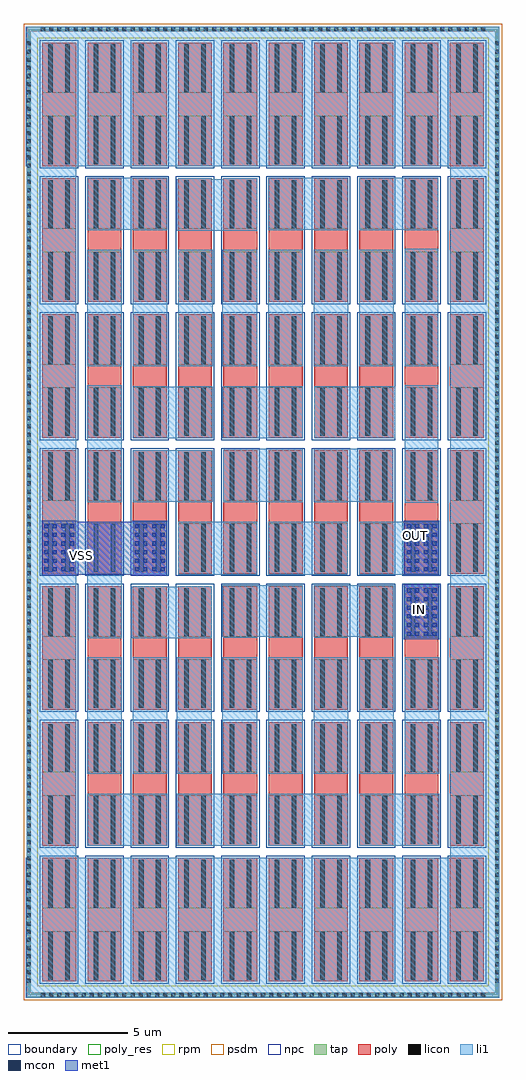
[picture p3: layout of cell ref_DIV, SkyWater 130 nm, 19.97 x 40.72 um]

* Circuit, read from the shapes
.subckt ref_DIV IN OUT VSS
XR1 VSS VSS VSS sky130_fd_pr__res_high_po w=1.41 l=0.87 m=30
XR2 sky130_fd_pr__res_high_po_1p41_ZNKGM5_0/R1_1_1 sky130_fd_pr__res_high_po_1p41_ZNKGM5_0/R2_1_1 VSS sky130_fd_pr__res_high_po w=1.41 l=0.87
XR3 sky130_fd_pr__res_high_po_1p41_ZNKGM5_0/R1_1_2 sky130_fd_pr__res_high_po_1p41_ZNKGM5_0/R1_1_1 VSS sky130_fd_pr__res_high_po w=1.41 l=0.87
XR4 sky130_fd_pr__res_high_po_1p41_ZNKGM5_0/R1_1_3 sky130_fd_pr__res_high_po_1p41_ZNKGM5_0/R1_1_2 VSS sky130_fd_pr__res_high_po w=1.41 l=0.87
XR5 sky130_fd_pr__res_high_po_1p41_ZNKGM5_0/R1_1_4 sky130_fd_pr__res_high_po_1p41_ZNKGM5_0/R1_1_3 VSS sky130_fd_pr__res_high_po w=1.41 l=0.87
XR6 sky130_fd_pr__res_high_po_1p41_ZNKGM5_0/R1_1_5 sky130_fd_pr__res_high_po_1p41_ZNKGM5_0/R1_1_4 VSS sky130_fd_pr__res_high_po w=1.41 l=0.87
XR7 sky130_fd_pr__res_high_po_1p41_ZNKGM5_0/R1_2_1 sky130_fd_pr__res_high_po_1p41_ZNKGM5_0/R2_1_1 VSS sky130_fd_pr__res_high_po w=1.41 l=0.87
XR8 sky130_fd_pr__res_high_po_1p41_ZNKGM5_0/R1_2_2 sky130_fd_pr__res_high_po_1p41_ZNKGM5_0/R1_2_1 VSS sky130_fd_pr__res_high_po w=1.41 l=0.87
XR9 sky130_fd_pr__res_high_po_1p41_ZNKGM5_0/R1_2_3 VSS VSS sky130_fd_pr__res_high_po w=1.41 l=0.87
XR10 sky130_fd_pr__res_high_po_1p41_ZNKGM5_0/R1_2_4 sky130_fd_pr__res_high_po_1p41_ZNKGM5_0/R2_2_4 VSS sky130_fd_pr__res_high_po w=1.41 l=0.87
XR11 sky130_fd_pr__res_high_po_1p41_ZNKGM5_0/R1_1_5 sky130_fd_pr__res_high_po_1p41_ZNKGM5_0/R1_2_4 VSS sky130_fd_pr__res_high_po w=1.41 l=0.87
XR12 sky130_fd_pr__res_high_po_1p41_ZNKGM5_0/R1_3_1 sky130_fd_pr__res_high_po_1p41_ZNKGM5_0/R2_3_1 VSS sky130_fd_pr__res_high_po w=1.41 l=0.87
XR13 sky130_fd_pr__res_high_po_1p41_ZNKGM5_0/R1_2_2 sky130_fd_pr__res_high_po_1p41_ZNKGM5_0/R1_3_1 VSS sky130_fd_pr__res_high_po w=1.41 l=0.87
XR14 sky130_fd_pr__res_high_po_1p41_ZNKGM5_0/R1_2_3 sky130_fd_pr__res_high_po_1p41_ZNKGM5_0/R2_3_3 VSS sky130_fd_pr__res_high_po w=1.41 l=0.87
XR15 sky130_fd_pr__res_high_po_1p41_ZNKGM5_0/R1_3_4 sky130_fd_pr__res_high_po_1p41_ZNKGM5_0/R2_2_4 VSS sky130_fd_pr__res_high_po w=1.41 l=0.87
XR16 sky130_fd_pr__res_high_po_1p41_ZNKGM5_0/R1_3_5 sky130_fd_pr__res_high_po_1p41_ZNKGM5_0/R1_3_4 VSS sky130_fd_pr__res_high_po w=1.41 l=0.87
XR17 sky130_fd_pr__res_high_po_1p41_ZNKGM5_0/R1_4_1 sky130_fd_pr__res_high_po_1p41_ZNKGM5_0/R2_3_1 VSS sky130_fd_pr__res_high_po w=1.41 l=0.87
XR18 sky130_fd_pr__res_high_po_1p41_ZNKGM5_0/R1_4_2 sky130_fd_pr__res_high_po_1p41_ZNKGM5_0/R1_4_1 VSS sky130_fd_pr__res_high_po w=1.41 l=0.87
XR19 sky130_fd_pr__res_high_po_1p41_ZNKGM5_0/R1_4_3 sky130_fd_pr__res_high_po_1p41_ZNKGM5_0/R2_3_3 VSS sky130_fd_pr__res_high_po w=1.41 l=0.87
XR20 sky130_fd_pr__res_high_po_1p41_ZNKGM5_0/R1_4_4 sky130_fd_pr__res_high_po_1p41_ZNKGM5_0/R2_4_4 VSS sky130_fd_pr__res_high_po w=1.41 l=0.87
XR21 sky130_fd_pr__res_high_po_1p41_ZNKGM5_0/R1_3_5 sky130_fd_pr__res_high_po_1p41_ZNKGM5_0/R1_4_4 VSS sky130_fd_pr__res_high_po w=1.41 l=0.87
XR22 sky130_fd_pr__res_high_po_1p41_ZNKGM5_0/R1_5_1 sky130_fd_pr__res_high_po_1p41_ZNKGM5_0/R2_5_1 VSS sky130_fd_pr__res_high_po w=1.41 l=0.87
XR23 sky130_fd_pr__res_high_po_1p41_ZNKGM5_0/R1_4_2 sky130_fd_pr__res_high_po_1p41_ZNKGM5_0/R1_5_1 VSS sky130_fd_pr__res_high_po w=1.41 l=0.87
XR24 sky130_fd_pr__res_high_po_1p41_ZNKGM5_0/R1_4_3 sky130_fd_pr__res_high_po_1p41_ZNKGM5_0/R2_5_3 VSS sky130_fd_pr__res_high_po w=1.41 l=0.87
XR25 sky130_fd_pr__res_high_po_1p41_ZNKGM5_0/R1_5_4 sky130_fd_pr__res_high_po_1p41_ZNKGM5_0/R2_4_4 VSS sky130_fd_pr__res_high_po w=1.41 l=0.87
XR26 sky130_fd_pr__res_high_po_1p41_ZNKGM5_0/R1_5_5 sky130_fd_pr__res_high_po_1p41_ZNKGM5_0/R1_5_4 VSS sky130_fd_pr__res_high_po w=1.41 l=0.87
XR27 sky130_fd_pr__res_high_po_1p41_ZNKGM5_0/R1_6_1 sky130_fd_pr__res_high_po_1p41_ZNKGM5_0/R2_5_1 VSS sky130_fd_pr__res_high_po w=1.41 l=0.87
XR28 sky130_fd_pr__res_high_po_1p41_ZNKGM5_0/R1_6_2 sky130_fd_pr__res_high_po_1p41_ZNKGM5_0/R1_6_1 VSS sky130_fd_pr__res_high_po w=1.41 l=0.87
XR29 sky130_fd_pr__res_high_po_1p41_ZNKGM5_0/R1_6_3 sky130_fd_pr__res_high_po_1p41_ZNKGM5_0/R2_5_3 VSS sky130_fd_pr__res_high_po w=1.41 l=0.87
XR30 sky130_fd_pr__res_high_po_1p41_ZNKGM5_0/R1_6_4 sky130_fd_pr__res_high_po_1p41_ZNKGM5_0/R2_6_4 VSS sky130_fd_pr__res_high_po w=1.41 l=0.87
XR31 sky130_fd_pr__res_high_po_1p41_ZNKGM5_0/R1_5_5 sky130_fd_pr__res_high_po_1p41_ZNKGM5_0/R1_6_4 VSS sky130_fd_pr__res_high_po w=1.41 l=0.87
XR32 sky130_fd_pr__res_high_po_1p41_ZNKGM5_0/R1_7_1 sky130_fd_pr__res_high_po_1p41_ZNKGM5_0/R2_7_1 VSS sky130_fd_pr__res_high_po w=1.41 l=0.87
XR33 sky130_fd_pr__res_high_po_1p41_ZNKGM5_0/R1_6_2 sky130_fd_pr__res_high_po_1p41_ZNKGM5_0/R1_7_1 VSS sky130_fd_pr__res_high_po w=1.41 l=0.87
XR34 sky130_fd_pr__res_high_po_1p41_ZNKGM5_0/R1_6_3 OUT VSS sky130_fd_pr__res_high_po w=1.41 l=0.87
XR35 sky130_fd_pr__res_high_po_1p41_ZNKGM5_0/R1_7_4 sky130_fd_pr__res_high_po_1p41_ZNKGM5_0/R2_6_4 VSS sky130_fd_pr__res_high_po w=1.41 l=0.87
XR36 sky130_fd_pr__res_high_po_1p41_ZNKGM5_0/R1_7_5 sky130_fd_pr__res_high_po_1p41_ZNKGM5_0/R1_7_4 VSS sky130_fd_pr__res_high_po w=1.41 l=0.87
XR37 sky130_fd_pr__res_high_po_1p41_ZNKGM5_0/R1_8_1 sky130_fd_pr__res_high_po_1p41_ZNKGM5_0/R2_7_1 VSS sky130_fd_pr__res_high_po w=1.41 l=0.87
XR38 IN sky130_fd_pr__res_high_po_1p41_ZNKGM5_0/R1_8_1 VSS sky130_fd_pr__res_high_po w=1.41 l=0.87
XR39 sky130_fd_pr__res_high_po_1p41_ZNKGM5_0/R1_8_3 OUT VSS sky130_fd_pr__res_high_po w=1.41 l=0.87
XR40 sky130_fd_pr__res_high_po_1p41_ZNKGM5_0/R1_8_4 sky130_fd_pr__res_high_po_1p41_ZNKGM5_0/R1_8_3 VSS sky130_fd_pr__res_high_po w=1.41 l=0.87
XR41 sky130_fd_pr__res_high_po_1p41_ZNKGM5_0/R1_7_5 sky130_fd_pr__res_high_po_1p41_ZNKGM5_0/R1_8_4 VSS sky130_fd_pr__res_high_po w=1.41 l=0.87
.ends

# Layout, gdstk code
import gdstk
lib = gdstk.Library(unit=1e-6, precision=1e-09)
def R(c, l, rs):  # rectangles x0, y0, x1, y1
    for r in rs: c.add(gdstk.rectangle(r[:2], r[2:], *l))
def A(c, l, x, y, w, h, nx, ny, dx, dy):  # array of equal rectangles
    R(c, l, [(x+i*dx, y+j*dy, x+i*dx+w, y+j*dy+h) for i in range(nx) for j in range(ny)])
tap = (65, 44)
poly_res = (66, 13)
poly = (66, 20)
licon = (66, 44)
li1 = (67, 20)
mcon = (67, 44)
met1 = (68, 20)
rpm = (86, 20)
psdm = (94, 20)
npc = (95, 20)
boundary = (235, 4)

sky130_fd_pr__res_high_p = lib.new_cell('sky130_fd_pr__res_high_po_1p41_ZNKGM5')
R(sky130_fd_pr__res_high_p, tap, [(-9.86,-20.235,9.86,-20.065), (-9.86,-20.065,-9.69,20.065), (9.69,-20.065,9.86,20.065), (-9.86,20.065,9.86,20.235)])
A(sky130_fd_pr__res_high_p, poly_res, -9.21, -17.505, 1.41, 0.99, 10, 7, 1.89, 5.67)
A(sky130_fd_pr__res_high_p, poly, -9.21, -19.585, 1.41, 5.15, 10, 7, 1.89, 5.67)
A(sky130_fd_pr__res_high_p, licon, -9.265, -20.235, 0.17, 0.17, 55, 2, 0.34, 40.3)
A(sky130_fd_pr__res_high_p, licon, -9.86, -19.635, 0.17, 0.17, 1, 116, 0, 0.34)
A(sky130_fd_pr__res_high_p, licon, 9.69, -19.635, 0.17, 0.17, 1, 116, 0, 0.34)
R(sky130_fd_pr__res_high_p, licon, [(-8.955,-19.505,-8.765,-17.505), (-8.245,-19.505,-8.055,-17.505), (-7.065,-19.505,-6.875,-17.505), (-6.355,-19.505,-6.165,-17.505), (-5.175,-19.505,-4.985,-17.505), (-4.465,-19.505,-4.275,-17.505), (-3.285,-19.505,-3.095,-17.505), (-2.575,-19.505,-2.385,-17.505), (-1.395,-19.505,-1.205,-17.505), (-0.685,-19.505,-0.495,-17.505), (0.495,-19.505,0.685,-17.505), (1.205,-19.505,1.395,-17.505), (2.385,-19.505,2.575,-17.505), (3.095,-19.505,3.285,-17.505), (4.275,-19.505,4.465,-17.505), (4.985,-19.505,5.175,-17.505), (6.165,-19.505,6.355,-17.505), (6.875,-19.505,7.065,-17.505), (8.055,-19.505,8.245,-17.505), (8.765,-19.505,8.955,-17.505), (-8.955,-16.515,-8.765,-14.515), (-8.245,-16.515,-8.055,-14.515), (-7.065,-16.515,-6.875,-14.515), (-6.355,-16.515,-6.165,-14.515), (-5.175,-16.515,-4.985,-14.515), (-4.465,-16.515,-4.275,-14.515), (-3.285,-16.515,-3.095,-14.515), (-2.575,-16.515,-2.385,-14.515), (-1.395,-16.515,-1.205,-14.515), (-0.685,-16.515,-0.495,-14.515), (0.495,-16.515,0.685,-14.515), (1.205,-16.515,1.395,-14.515), (2.385,-16.515,2.575,-14.515), (3.095,-16.515,3.285,-14.515), (4.275,-16.515,4.465,-14.515), (4.985,-16.515,5.175,-14.515), (6.165,-16.515,6.355,-14.515), (6.875,-16.515,7.065,-14.515), (8.055,-16.515,8.245,-14.515), (8.765,-16.515,8.955,-14.515), (-8.955,-13.835,-8.765,-11.835), (-8.245,-13.835,-8.055,-11.835), (-7.065,-13.835,-6.875,-11.835), (-6.355,-13.835,-6.165,-11.835), (-5.175,-13.835,-4.985,-11.835), (-4.465,-13.835,-4.275,-11.835), (-3.285,-13.835,-3.095,-11.835), (-2.575,-13.835,-2.385,-11.835), (-1.395,-13.835,-1.205,-11.835), (-0.685,-13.835,-0.495,-11.835), (0.495,-13.835,0.685,-11.835), (1.205,-13.835,1.395,-11.835), (2.385,-13.835,2.575,-11.835), (3.095,-13.835,3.285,-11.835), (4.275,-13.835,4.465,-11.835), (4.985,-13.835,5.175,-11.835), (6.165,-13.835,6.355,-11.835), (6.875,-13.835,7.065,-11.835), (8.055,-13.835,8.245,-11.835), (8.765,-13.835,8.955,-11.835), (-8.955,-10.845,-8.765,-8.845), (-8.245,-10.845,-8.055,-8.845), (-7.065,-10.845,-6.875,-8.845), (-6.355,-10.845,-6.165,-8.845), (-5.175,-10.845,-4.985,-8.845), (-4.465,-10.845,-4.275,-8.845), (-3.285,-10.845,-3.095,-8.845), (-2.575,-10.845,-2.385,-8.845), (-1.395,-10.845,-1.205,-8.845), (-0.685,-10.845,-0.495,-8.845), (0.495,-10.845,0.685,-8.845), (1.205,-10.845,1.395,-8.845), (2.385,-10.845,2.575,-8.845), (3.095,-10.845,3.285,-8.845), (4.275,-10.845,4.465,-8.845), (4.985,-10.845,5.175,-8.845), (6.165,-10.845,6.355,-8.845), (6.875,-10.845,7.065,-8.845), (8.055,-10.845,8.245,-8.845), (8.765,-10.845,8.955,-8.845), (-8.955,-8.165,-8.765,-6.165), (-8.245,-8.165,-8.055,-6.165), (-7.065,-8.165,-6.875,-6.165), (-6.355,-8.165,-6.165,-6.165), (-5.175,-8.165,-4.985,-6.165), (-4.465,-8.165,-4.275,-6.165), (-3.285,-8.165,-3.095,-6.165), (-2.575,-8.165,-2.385,-6.165), (-1.395,-8.165,-1.205,-6.165), (-0.685,-8.165,-0.495,-6.165), (0.495,-8.165,0.685,-6.165), (1.205,-8.165,1.395,-6.165), (2.385,-8.165,2.575,-6.165), (3.095,-8.165,3.285,-6.165), (4.275,-8.165,4.465,-6.165), (4.985,-8.165,5.175,-6.165), (6.165,-8.165,6.355,-6.165), (6.875,-8.165,7.065,-6.165), (8.055,-8.165,8.245,-6.165), (8.765,-8.165,8.955,-6.165), (-8.955,-5.175,-8.765,-3.175), (-8.245,-5.175,-8.055,-3.175), (-7.065,-5.175,-6.875,-3.175), (-6.355,-5.175,-6.165,-3.175), (-5.175,-5.175,-4.985,-3.175), (-4.465,-5.175,-4.275,-3.175), (-3.285,-5.175,-3.095,-3.175), (-2.575,-5.175,-2.385,-3.175), (-1.395,-5.175,-1.205,-3.175), (-0.685,-5.175,-0.495,-3.175), (0.495,-5.175,0.685,-3.175), (1.205,-5.175,1.395,-3.175), (2.385,-5.175,2.575,-3.175), (3.095,-5.175,3.285,-3.175), (4.275,-5.175,4.465,-3.175), (4.985,-5.175,5.175,-3.175), (6.165,-5.175,6.355,-3.175), (6.875,-5.175,7.065,-3.175), (8.055,-5.175,8.245,-3.175), (8.765,-5.175,8.955,-3.175), (-8.955,-2.495,-8.765,-0.495), (-8.245,-2.495,-8.055,-0.495), (-7.065,-2.495,-6.875,-0.495), (-6.355,-2.495,-6.165,-0.495), (-5.175,-2.495,-4.985,-0.495), (-4.465,-2.495,-4.275,-0.495), (-3.285,-2.495,-3.095,-0.495), (-2.575,-2.495,-2.385,-0.495), (-1.395,-2.495,-1.205,-0.495), (-0.685,-2.495,-0.495,-0.495), (0.495,-2.495,0.685,-0.495), (1.205,-2.495,1.395,-0.495), (2.385,-2.495,2.575,-0.495), (3.095,-2.495,3.285,-0.495), (4.275,-2.495,4.465,-0.495), (4.985,-2.495,5.175,-0.495), (6.165,-2.495,6.355,-0.495), (6.875,-2.495,7.065,-0.495), (8.055,-2.495,8.245,-0.495), (8.765,-2.495,8.955,-0.495), (-8.955,0.495,-8.765,2.495), (-8.245,0.495,-8.055,2.495), (-7.065,0.495,-6.875,2.495), (-6.355,0.495,-6.165,2.495), (-5.175,0.495,-4.985,2.495), (-4.465,0.495,-4.275,2.495), (-3.285,0.495,-3.095,2.495), (-2.575,0.495,-2.385,2.495), (-1.395,0.495,-1.205,2.495), (-0.685,0.495,-0.495,2.495), (0.495,0.495,0.685,2.495), (1.205,0.495,1.395,2.495), (2.385,0.495,2.575,2.495), (3.095,0.495,3.285,2.495), (4.275,0.495,4.465,2.495), (4.985,0.495,5.175,2.495), (6.165,0.495,6.355,2.495), (6.875,0.495,7.065,2.495), (8.055,0.495,8.245,2.495), (8.765,0.495,8.955,2.495), (-8.955,3.175,-8.765,5.175), (-8.245,3.175,-8.055,5.175), (-7.065,3.175,-6.875,5.175), (-6.355,3.175,-6.165,5.175), (-5.175,3.175,-4.985,5.175), (-4.465,3.175,-4.275,5.175), (-3.285,3.175,-3.095,5.175), (-2.575,3.175,-2.385,5.175), (-1.395,3.175,-1.205,5.175), (-0.685,3.175,-0.495,5.175), (0.495,3.175,0.685,5.175), (1.205,3.175,1.395,5.175), (2.385,3.175,2.575,5.175), (3.095,3.175,3.285,5.175), (4.275,3.175,4.465,5.175), (4.985,3.175,5.175,5.175), (6.165,3.175,6.355,5.175), (6.875,3.175,7.065,5.175), (8.055,3.175,8.245,5.175), (8.765,3.175,8.955,5.175), (-8.955,6.165,-8.765,8.165), (-8.245,6.165,-8.055,8.165), (-7.065,6.165,-6.875,8.165), (-6.355,6.165,-6.165,8.165), (-5.175,6.165,-4.985,8.165), (-4.465,6.165,-4.275,8.165), (-3.285,6.165,-3.095,8.165), (-2.575,6.165,-2.385,8.165), (-1.395,6.165,-1.205,8.165), (-0.685,6.165,-0.495,8.165), (0.495,6.165,0.685,8.165), (1.205,6.165,1.395,8.165), (2.385,6.165,2.575,8.165), (3.095,6.165,3.285,8.165), (4.275,6.165,4.465,8.165), (4.985,6.165,5.175,8.165), (6.165,6.165,6.355,8.165), (6.875,6.165,7.065,8.165), (8.055,6.165,8.245,8.165), (8.765,6.165,8.955,8.165), (-8.955,8.845,-8.765,10.845), (-8.245,8.845,-8.055,10.845), (-7.065,8.845,-6.875,10.845), (-6.355,8.845,-6.165,10.845), (-5.175,8.845,-4.985,10.845), (-4.465,8.845,-4.275,10.845), (-3.285,8.845,-3.095,10.845), (-2.575,8.845,-2.385,10.845), (-1.395,8.845,-1.205,10.845), (-0.685,8.845,-0.495,10.845), (0.495,8.845,0.685,10.845), (1.205,8.845,1.395,10.845), (2.385,8.845,2.575,10.845), (3.095,8.845,3.285,10.845), (4.275,8.845,4.465,10.845), (4.985,8.845,5.175,10.845), (6.165,8.845,6.355,10.845), (6.875,8.845,7.065,10.845), (8.055,8.845,8.245,10.845), (8.765,8.845,8.955,10.845), (-8.955,11.835,-8.765,13.835), (-8.245,11.835,-8.055,13.835), (-7.065,11.835,-6.875,13.835), (-6.355,11.835,-6.165,13.835), (-5.175,11.835,-4.985,13.835), (-4.465,11.835,-4.275,13.835), (-3.285,11.835,-3.095,13.835), (-2.575,11.835,-2.385,13.835), (-1.395,11.835,-1.205,13.835), (-0.685,11.835,-0.495,13.835), (0.495,11.835,0.685,13.835), (1.205,11.835,1.395,13.835), (2.385,11.835,2.575,13.835), (3.095,11.835,3.285,13.835), (4.275,11.835,4.465,13.835), (4.985,11.835,5.175,13.835), (6.165,11.835,6.355,13.835), (6.875,11.835,7.065,13.835), (8.055,11.835,8.245,13.835), (8.765,11.835,8.955,13.835), (-8.955,14.515,-8.765,16.515), (-8.245,14.515,-8.055,16.515), (-7.065,14.515,-6.875,16.515), (-6.355,14.515,-6.165,16.515), (-5.175,14.515,-4.985,16.515), (-4.465,14.515,-4.275,16.515), (-3.285,14.515,-3.095,16.515), (-2.575,14.515,-2.385,16.515), (-1.395,14.515,-1.205,16.515), (-0.685,14.515,-0.495,16.515), (0.495,14.515,0.685,16.515), (1.205,14.515,1.395,16.515), (2.385,14.515,2.575,16.515), (3.095,14.515,3.285,16.515), (4.275,14.515,4.465,16.515), (4.985,14.515,5.175,16.515), (6.165,14.515,6.355,16.515), (6.875,14.515,7.065,16.515), (8.055,14.515,8.245,16.515), (8.765,14.515,8.955,16.515), (-8.955,17.505,-8.765,19.505), (-8.245,17.505,-8.055,19.505), (-7.065,17.505,-6.875,19.505), (-6.355,17.505,-6.165,19.505), (-5.175,17.505,-4.985,19.505), (-4.465,17.505,-4.275,19.505), (-3.285,17.505,-3.095,19.505), (-2.575,17.505,-2.385,19.505), (-1.395,17.505,-1.205,19.505), (-0.685,17.505,-0.495,19.505), (0.495,17.505,0.685,19.505), (1.205,17.505,1.395,19.505), (2.385,17.505,2.575,19.505), (3.095,17.505,3.285,19.505), (4.275,17.505,4.465,19.505), (4.985,17.505,5.175,19.505), (6.165,17.505,6.355,19.505), (6.875,17.505,7.065,19.505), (8.055,17.505,8.245,19.505), (8.765,17.505,8.955,19.505)])
A(sky130_fd_pr__res_high_p, li1, -9.21, -19.585, 1.41, 2.16, 10, 2, 1.89, 2.99)
A(sky130_fd_pr__res_high_p, li1, -9.21, -13.915, 1.41, 2.16, 10, 2, 1.89, 2.99)
A(sky130_fd_pr__res_high_p, li1, -9.21, -8.245, 1.41, 2.16, 10, 2, 1.89, 2.99)
A(sky130_fd_pr__res_high_p, li1, -9.21, -2.575, 1.41, 2.16, 10, 2, 1.89, 2.99)
A(sky130_fd_pr__res_high_p, li1, -9.21, 3.095, 1.41, 2.16, 10, 2, 1.89, 2.99)
A(sky130_fd_pr__res_high_p, li1, -9.21, 8.765, 1.41, 2.16, 10, 2, 1.89, 2.99)
A(sky130_fd_pr__res_high_p, li1, -9.21, 14.435, 1.41, 2.16, 10, 2, 1.89, 2.99)
R(sky130_fd_pr__res_high_p, li1, [(-9.86,-20.235,9.86,-20.065), (-9.86,-20.065,-9.69,20.065), (9.69,-20.065,9.86,20.065), (-9.86,20.065,9.86,20.235)])
R(sky130_fd_pr__res_high_p, rpm, [(-9.41,-19.785,9.41,19.785)])
R(sky130_fd_pr__res_high_p, psdm, [(-9.985,-20.36,9.985,20.36)])
A(sky130_fd_pr__res_high_p, npc, -9.305, -19.68, 1.6, 5.34, 10, 7, 1.89, 5.67)
R(sky130_fd_pr__res_high_p, boundary, [(-9.775,-20.15,9.775,20.15)])
sky130_fd_pr__res_high_p.add(gdstk.Label('B', (0,-20.15), layer=67, texttype=5))
sky130_fd_pr__res_high_p.add(gdstk.Label('R1_0_0', (-8.505,-14.61), layer=67, texttype=5))
sky130_fd_pr__res_high_p.add(gdstk.Label('R2_0_0', (-8.505,-19.41), layer=67, texttype=5))
sky130_fd_pr__res_high_p.add(gdstk.Label('R1_0_1', (-8.505,-8.94), layer=67, texttype=5))
sky130_fd_pr__res_high_p.add(gdstk.Label('R2_0_1', (-8.505,-13.74), layer=67, texttype=5))
sky130_fd_pr__res_high_p.add(gdstk.Label('R1_0_2', (-8.505,-3.27), layer=67, texttype=5))
sky130_fd_pr__res_high_p.add(gdstk.Label('R2_0_2', (-8.505,-8.07), layer=67, texttype=5))
sky130_fd_pr__res_high_p.add(gdstk.Label('R1_0_3', (-8.505,2.4), layer=67, texttype=5))
sky130_fd_pr__res_high_p.add(gdstk.Label('R2_0_3', (-8.505,-2.4), layer=67, texttype=5))
sky130_fd_pr__res_high_p.add(gdstk.Label('R1_0_4', (-8.505,8.07), layer=67, texttype=5))
sky130_fd_pr__res_high_p.add(gdstk.Label('R2_0_4', (-8.505,3.27), layer=67, texttype=5))
sky130_fd_pr__res_high_p.add(gdstk.Label('R1_0_5', (-8.505,13.74), layer=67, texttype=5))
sky130_fd_pr__res_high_p.add(gdstk.Label('R2_0_5', (-8.505,8.94), layer=67, texttype=5))
sky130_fd_pr__res_high_p.add(gdstk.Label('R1_0_6', (-8.505,19.41), layer=67, texttype=5))
sky130_fd_pr__res_high_p.add(gdstk.Label('R2_0_6', (-8.505,14.61), layer=67, texttype=5))
sky130_fd_pr__res_high_p.add(gdstk.Label('R1_1_0', (-6.615,-14.61), layer=67, texttype=5))
sky130_fd_pr__res_high_p.add(gdstk.Label('R2_1_0', (-6.615,-19.41), layer=67, texttype=5))
sky130_fd_pr__res_high_p.add(gdstk.Label('R1_1_1', (-6.615,-8.94), layer=67, texttype=5))
sky130_fd_pr__res_high_p.add(gdstk.Label('R2_1_1', (-6.615,-13.74), layer=67, texttype=5))
sky130_fd_pr__res_high_p.add(gdstk.Label('R1_1_2', (-6.615,-3.27), layer=67, texttype=5))
sky130_fd_pr__res_high_p.add(gdstk.Label('R2_1_2', (-6.615,-8.07), layer=67, texttype=5))
sky130_fd_pr__res_high_p.add(gdstk.Label('R1_1_3', (-6.615,2.4), layer=67, texttype=5))
sky130_fd_pr__res_high_p.add(gdstk.Label('R2_1_3', (-6.615,-2.4), layer=67, texttype=5))
sky130_fd_pr__res_high_p.add(gdstk.Label('R1_1_4', (-6.615,8.07), layer=67, texttype=5))
sky130_fd_pr__res_high_p.add(gdstk.Label('R2_1_4', (-6.615,3.27), layer=67, texttype=5))
sky130_fd_pr__res_high_p.add(gdstk.Label('R1_1_5', (-6.615,13.74), layer=67, texttype=5))
sky130_fd_pr__res_high_p.add(gdstk.Label('R2_1_5', (-6.615,8.94), layer=67, texttype=5))
sky130_fd_pr__res_high_p.add(gdstk.Label('R1_1_6', (-6.615,19.41), layer=67, texttype=5))
sky130_fd_pr__res_high_p.add(gdstk.Label('R2_1_6', (-6.615,14.61), layer=67, texttype=5))
sky130_fd_pr__res_high_p.add(gdstk.Label('R1_2_0', (-4.725,-14.61), layer=67, texttype=5))
sky130_fd_pr__res_high_p.add(gdstk.Label('R2_2_0', (-4.725,-19.41), layer=67, texttype=5))
sky130_fd_pr__res_high_p.add(gdstk.Label('R1_2_1', (-4.725,-8.94), layer=67, texttype=5))
sky130_fd_pr__res_high_p.add(gdstk.Label('R2_2_1', (-4.725,-13.74), layer=67, texttype=5))
sky130_fd_pr__res_high_p.add(gdstk.Label('R1_2_2', (-4.725,-3.27), layer=67, texttype=5))
sky130_fd_pr__res_high_p.add(gdstk.Label('R2_2_2', (-4.725,-8.07), layer=67, texttype=5))
sky130_fd_pr__res_high_p.add(gdstk.Label('R1_2_3', (-4.725,2.4), layer=67, texttype=5))
sky130_fd_pr__res_high_p.add(gdstk.Label('R2_2_3', (-4.725,-2.4), layer=67, texttype=5))
sky130_fd_pr__res_high_p.add(gdstk.Label('R1_2_4', (-4.725,8.07), layer=67, texttype=5))
sky130_fd_pr__res_high_p.add(gdstk.Label('R2_2_4', (-4.725,3.27), layer=67, texttype=5))
sky130_fd_pr__res_high_p.add(gdstk.Label('R1_2_5', (-4.725,13.74), layer=67, texttype=5))
sky130_fd_pr__res_high_p.add(gdstk.Label('R2_2_5', (-4.725,8.94), layer=67, texttype=5))
sky130_fd_pr__res_high_p.add(gdstk.Label('R1_2_6', (-4.725,19.41), layer=67, texttype=5))
sky130_fd_pr__res_high_p.add(gdstk.Label('R2_2_6', (-4.725,14.61), layer=67, texttype=5))
sky130_fd_pr__res_high_p.add(gdstk.Label('R1_3_0', (-2.835,-14.61), layer=67, texttype=5))
sky130_fd_pr__res_high_p.add(gdstk.Label('R2_3_0', (-2.835,-19.41), layer=67, texttype=5))
sky130_fd_pr__res_high_p.add(gdstk.Label('R1_3_1', (-2.835,-8.94), layer=67, texttype=5))
sky130_fd_pr__res_high_p.add(gdstk.Label('R2_3_1', (-2.835,-13.74), layer=67, texttype=5))
sky130_fd_pr__res_high_p.add(gdstk.Label('R1_3_2', (-2.835,-3.27), layer=67, texttype=5))
sky130_fd_pr__res_high_p.add(gdstk.Label('R2_3_2', (-2.835,-8.07), layer=67, texttype=5))
sky130_fd_pr__res_high_p.add(gdstk.Label('R1_3_3', (-2.835,2.4), layer=67, texttype=5))
sky130_fd_pr__res_high_p.add(gdstk.Label('R2_3_3', (-2.835,-2.4), layer=67, texttype=5))
sky130_fd_pr__res_high_p.add(gdstk.Label('R1_3_4', (-2.835,8.07), layer=67, texttype=5))
sky130_fd_pr__res_high_p.add(gdstk.Label('R2_3_4', (-2.835,3.27), layer=67, texttype=5))
sky130_fd_pr__res_high_p.add(gdstk.Label('R1_3_5', (-2.835,13.74), layer=67, texttype=5))
sky130_fd_pr__res_high_p.add(gdstk.Label('R2_3_5', (-2.835,8.94), layer=67, texttype=5))
sky130_fd_pr__res_high_p.add(gdstk.Label('R1_3_6', (-2.835,19.41), layer=67, texttype=5))
sky130_fd_pr__res_high_p.add(gdstk.Label('R2_3_6', (-2.835,14.61), layer=67, texttype=5))
sky130_fd_pr__res_high_p.add(gdstk.Label('R1_4_0', (-0.945,-14.61), layer=67, texttype=5))
sky130_fd_pr__res_high_p.add(gdstk.Label('R2_4_0', (-0.945,-19.41), layer=67, texttype=5))
sky130_fd_pr__res_high_p.add(gdstk.Label('R1_4_1', (-0.945,-8.94), layer=67, texttype=5))
sky130_fd_pr__res_high_p.add(gdstk.Label('R2_4_1', (-0.945,-13.74), layer=67, texttype=5))
sky130_fd_pr__res_high_p.add(gdstk.Label('R1_4_2', (-0.945,-3.27), layer=67, texttype=5))
sky130_fd_pr__res_high_p.add(gdstk.Label('R2_4_2', (-0.945,-8.07), layer=67, texttype=5))
sky130_fd_pr__res_high_p.add(gdstk.Label('R1_4_3', (-0.945,2.4), layer=67, texttype=5))
sky130_fd_pr__res_high_p.add(gdstk.Label('R2_4_3', (-0.945,-2.4), layer=67, texttype=5))
sky130_fd_pr__res_high_p.add(gdstk.Label('R1_4_4', (-0.945,8.07), layer=67, texttype=5))
sky130_fd_pr__res_high_p.add(gdstk.Label('R2_4_4', (-0.945,3.27), layer=67, texttype=5))
sky130_fd_pr__res_high_p.add(gdstk.Label('R1_4_5', (-0.945,13.74), layer=67, texttype=5))
sky130_fd_pr__res_high_p.add(gdstk.Label('R2_4_5', (-0.945,8.94), layer=67, texttype=5))
sky130_fd_pr__res_high_p.add(gdstk.Label('R1_4_6', (-0.945,19.41), layer=67, texttype=5))
sky130_fd_pr__res_high_p.add(gdstk.Label('R2_4_6', (-0.945,14.61), layer=67, texttype=5))
sky130_fd_pr__res_high_p.add(gdstk.Label('R1_5_0', (0.945,-14.61), layer=67, texttype=5))
sky130_fd_pr__res_high_p.add(gdstk.Label('R2_5_0', (0.945,-19.41), layer=67, texttype=5))
sky130_fd_pr__res_high_p.add(gdstk.Label('R1_5_1', (0.945,-8.94), layer=67, texttype=5))
sky130_fd_pr__res_high_p.add(gdstk.Label('R2_5_1', (0.945,-13.74), layer=67, texttype=5))
sky130_fd_pr__res_high_p.add(gdstk.Label('R1_5_2', (0.945,-3.27), layer=67, texttype=5))
sky130_fd_pr__res_high_p.add(gdstk.Label('R2_5_2', (0.945,-8.07), layer=67, texttype=5))
sky130_fd_pr__res_high_p.add(gdstk.Label('R1_5_3', (0.945,2.4), layer=67, texttype=5))
sky130_fd_pr__res_high_p.add(gdstk.Label('R2_5_3', (0.945,-2.4), layer=67, texttype=5))
sky130_fd_pr__res_high_p.add(gdstk.Label('R1_5_4', (0.945,8.07), layer=67, texttype=5))
sky130_fd_pr__res_high_p.add(gdstk.Label('R2_5_4', (0.945,3.27), layer=67, texttype=5))
sky130_fd_pr__res_high_p.add(gdstk.Label('R1_5_5', (0.945,13.74), layer=67, texttype=5))
sky130_fd_pr__res_high_p.add(gdstk.Label('R2_5_5', (0.945,8.94), layer=67, texttype=5))
sky130_fd_pr__res_high_p.add(gdstk.Label('R1_5_6', (0.945,19.41), layer=67, texttype=5))
sky130_fd_pr__res_high_p.add(gdstk.Label('R2_5_6', (0.945,14.61), layer=67, texttype=5))
sky130_fd_pr__res_high_p.add(gdstk.Label('R1_6_0', (2.835,-14.61), layer=67, texttype=5))
sky130_fd_pr__res_high_p.add(gdstk.Label('R2_6_0', (2.835,-19.41), layer=67, texttype=5))
sky130_fd_pr__res_high_p.add(gdstk.Label('R1_6_1', (2.835,-8.94), layer=67, texttype=5))
sky130_fd_pr__res_high_p.add(gdstk.Label('R2_6_1', (2.835,-13.74), layer=67, texttype=5))
sky130_fd_pr__res_high_p.add(gdstk.Label('R1_6_2', (2.835,-3.27), layer=67, texttype=5))
sky130_fd_pr__res_high_p.add(gdstk.Label('R2_6_2', (2.835,-8.07), layer=67, texttype=5))
sky130_fd_pr__res_high_p.add(gdstk.Label('R1_6_3', (2.835,2.4), layer=67, texttype=5))
sky130_fd_pr__res_high_p.add(gdstk.Label('R2_6_3', (2.835,-2.4), layer=67, texttype=5))
sky130_fd_pr__res_high_p.add(gdstk.Label('R1_6_4', (2.835,8.07), layer=67, texttype=5))
sky130_fd_pr__res_high_p.add(gdstk.Label('R2_6_4', (2.835,3.27), layer=67, texttype=5))
sky130_fd_pr__res_high_p.add(gdstk.Label('R1_6_5', (2.835,13.74), layer=67, texttype=5))
sky130_fd_pr__res_high_p.add(gdstk.Label('R2_6_5', (2.835,8.94), layer=67, texttype=5))
sky130_fd_pr__res_high_p.add(gdstk.Label('R1_6_6', (2.835,19.41), layer=67, texttype=5))
sky130_fd_pr__res_high_p.add(gdstk.Label('R2_6_6', (2.835,14.61), layer=67, texttype=5))
sky130_fd_pr__res_high_p.add(gdstk.Label('R1_7_0', (4.725,-14.61), layer=67, texttype=5))
sky130_fd_pr__res_high_p.add(gdstk.Label('R2_7_0', (4.725,-19.41), layer=67, texttype=5))
sky130_fd_pr__res_high_p.add(gdstk.Label('R1_7_1', (4.725,-8.94), layer=67, texttype=5))
sky130_fd_pr__res_high_p.add(gdstk.Label('R2_7_1', (4.725,-13.74), layer=67, texttype=5))
sky130_fd_pr__res_high_p.add(gdstk.Label('R1_7_2', (4.725,-3.27), layer=67, texttype=5))
sky130_fd_pr__res_high_p.add(gdstk.Label('R2_7_2', (4.725,-8.07), layer=67, texttype=5))
sky130_fd_pr__res_high_p.add(gdstk.Label('R1_7_3', (4.725,2.4), layer=67, texttype=5))
sky130_fd_pr__res_high_p.add(gdstk.Label('R2_7_3', (4.725,-2.4), layer=67, texttype=5))
sky130_fd_pr__res_high_p.add(gdstk.Label('R1_7_4', (4.725,8.07), layer=67, texttype=5))
sky130_fd_pr__res_high_p.add(gdstk.Label('R2_7_4', (4.725,3.27), layer=67, texttype=5))
sky130_fd_pr__res_high_p.add(gdstk.Label('R1_7_5', (4.725,13.74), layer=67, texttype=5))
sky130_fd_pr__res_high_p.add(gdstk.Label('R2_7_5', (4.725,8.94), layer=67, texttype=5))
sky130_fd_pr__res_high_p.add(gdstk.Label('R1_7_6', (4.725,19.41), layer=67, texttype=5))
sky130_fd_pr__res_high_p.add(gdstk.Label('R2_7_6', (4.725,14.61), layer=67, texttype=5))
sky130_fd_pr__res_high_p.add(gdstk.Label('R1_8_0', (6.615,-14.61), layer=67, texttype=5))
sky130_fd_pr__res_high_p.add(gdstk.Label('R2_8_0', (6.615,-19.41), layer=67, texttype=5))
sky130_fd_pr__res_high_p.add(gdstk.Label('R1_8_1', (6.615,-8.94), layer=67, texttype=5))
sky130_fd_pr__res_high_p.add(gdstk.Label('R2_8_1', (6.615,-13.74), layer=67, texttype=5))
sky130_fd_pr__res_high_p.add(gdstk.Label('R1_8_2', (6.615,-3.27), layer=67, texttype=5))
sky130_fd_pr__res_high_p.add(gdstk.Label('R2_8_2', (6.615,-8.07), layer=67, texttype=5))
sky130_fd_pr__res_high_p.add(gdstk.Label('R1_8_3', (6.615,2.4), layer=67, texttype=5))
sky130_fd_pr__res_high_p.add(gdstk.Label('R2_8_3', (6.615,-2.4), layer=67, texttype=5))
sky130_fd_pr__res_high_p.add(gdstk.Label('R1_8_4', (6.615,8.07), layer=67, texttype=5))
sky130_fd_pr__res_high_p.add(gdstk.Label('R2_8_4', (6.615,3.27), layer=67, texttype=5))
sky130_fd_pr__res_high_p.add(gdstk.Label('R1_8_5', (6.615,13.74), layer=67, texttype=5))
sky130_fd_pr__res_high_p.add(gdstk.Label('R2_8_5', (6.615,8.94), layer=67, texttype=5))
sky130_fd_pr__res_high_p.add(gdstk.Label('R1_8_6', (6.615,19.41), layer=67, texttype=5))
sky130_fd_pr__res_high_p.add(gdstk.Label('R2_8_6', (6.615,14.61), layer=67, texttype=5))
sky130_fd_pr__res_high_p.add(gdstk.Label('R1_9_0', (8.505,-14.61), layer=67, texttype=5))
sky130_fd_pr__res_high_p.add(gdstk.Label('R2_9_0', (8.505,-19.41), layer=67, texttype=5))
sky130_fd_pr__res_high_p.add(gdstk.Label('R1_9_1', (8.505,-8.94), layer=67, texttype=5))
sky130_fd_pr__res_high_p.add(gdstk.Label('R2_9_1', (8.505,-13.74), layer=67, texttype=5))
sky130_fd_pr__res_high_p.add(gdstk.Label('R1_9_2', (8.505,-3.27), layer=67, texttype=5))
sky130_fd_pr__res_high_p.add(gdstk.Label('R2_9_2', (8.505,-8.07), layer=67, texttype=5))
sky130_fd_pr__res_high_p.add(gdstk.Label('R1_9_3', (8.505,2.4), layer=67, texttype=5))
sky130_fd_pr__res_high_p.add(gdstk.Label('R2_9_3', (8.505,-2.4), layer=67, texttype=5))
sky130_fd_pr__res_high_p.add(gdstk.Label('R1_9_4', (8.505,8.07), layer=67, texttype=5))
sky130_fd_pr__res_high_p.add(gdstk.Label('R2_9_4', (8.505,3.27), layer=67, texttype=5))
sky130_fd_pr__res_high_p.add(gdstk.Label('R1_9_5', (8.505,13.74), layer=67, texttype=5))
sky130_fd_pr__res_high_p.add(gdstk.Label('R2_9_5', (8.505,8.94), layer=67, texttype=5))
sky130_fd_pr__res_high_p.add(gdstk.Label('R1_9_6', (8.505,19.41), layer=67, texttype=5))
sky130_fd_pr__res_high_p.add(gdstk.Label('R2_9_6', (8.505,14.61), layer=67, texttype=5))

ref_div = lib.new_cell('ref_DIV')
A(ref_div, li1, -18.25, 2.45, 3.35, 2.15, 3, 1, 3.8, 0)
A(ref_div, li1, -18.25, 5.45, 1.45, 4.85, 6, 1, 1.9, 0)
A(ref_div, li1, -22, 22.45, 1.45, 4.85, 3, 1, 1.9, 0)
A(ref_div, li1, -16.35, 22.45, 1.45, 4.85, 4, 1, 1.9, 0)
R(ref_div, li1, [(-24.55,-3.9,-4.8,1.95), (-24.5,1.95,-22.45,30.8), (-6.85,1.95,-4.8,30.8), (-22,2.45,-18.65,4.6), (-22,5.45,-20.55,10.3), (-20.1,5.45,-18.65,10.3), (-22,11.1,-20.55,15.95), (-20.15,11.1,-16.8,13.25), (-8.75,11.11,-7.34,13.27), (-16.35,11.15,-13,13.3), (-12.55,11.15,-9.2,13.3), (-18.2,13.75,-14.9,15.95), (-14.45,13.75,-11.15,15.95), (-10.65,13.75,-7.35,13.79), (-20.09,13.79,-18.68,15.95), (-10.65,13.79,-7.34,15.95), (-8.75,16.75,-7.35,21.65), (-22,16.8,-20.55,21.65), (-20.1,16.8,-16.75,18.95), (-16.3,16.8,-13,19), (-12.55,16.8,-9.25,19), (-20.1,19.45,-16.75,21.6), (-16.35,19.45,-13,21.6), (-12.5,19.45,-9.15,21.6), (-8.75,22.45,-7.35,27.35), (-18.25,28.1,-14.9,30.25), (-22,28.15,-18.65,30.3), (-14.45,28.15,-11.1,30.3), (-10.65,28.15,-7.35,30.3), (-24.55,30.8,-4.8,36.6)])
A(ref_div, mcon, -8.67, 11.205, 0.17, 0.17, 4, 6, 0.36, 0.36)
A(ref_div, mcon, -23.79, 13.885, 0.17, 0.17, 4, 6, 0.36, 0.36)
A(ref_div, mcon, -20.01, 13.885, 0.17, 0.17, 4, 6, 0.36, 0.36)
A(ref_div, mcon, -8.67, 13.885, 0.17, 0.17, 4, 6, 0.36, 0.36)
R(ref_div, met1, [(-8.78,11.05,-7.31,13.33), (-23.9,13.73,-22.43,13.75), (-20.12,13.73,-18.65,13.75), (-8.78,13.73,-7.31,16.01), (-23.9,13.75,-18.65,15.95), (-23.9,15.95,-22.43,16.01), (-20.12,15.95,-18.65,16.01)])
ref_div.add(gdstk.Reference(sky130_fd_pr__res_high_p, (-14.66,16.365)))
ref_div.add(gdstk.Label('OUT', (-8.3,15.4), layer=68, texttype=5))
ref_div.add(gdstk.Label('IN', (-8.15,12.3), layer=68, texttype=5))
ref_div.add(gdstk.Label('VSS', (-22.25,14.55), layer=68, texttype=5))

lib.write_gds('ref_DIV.gds')
